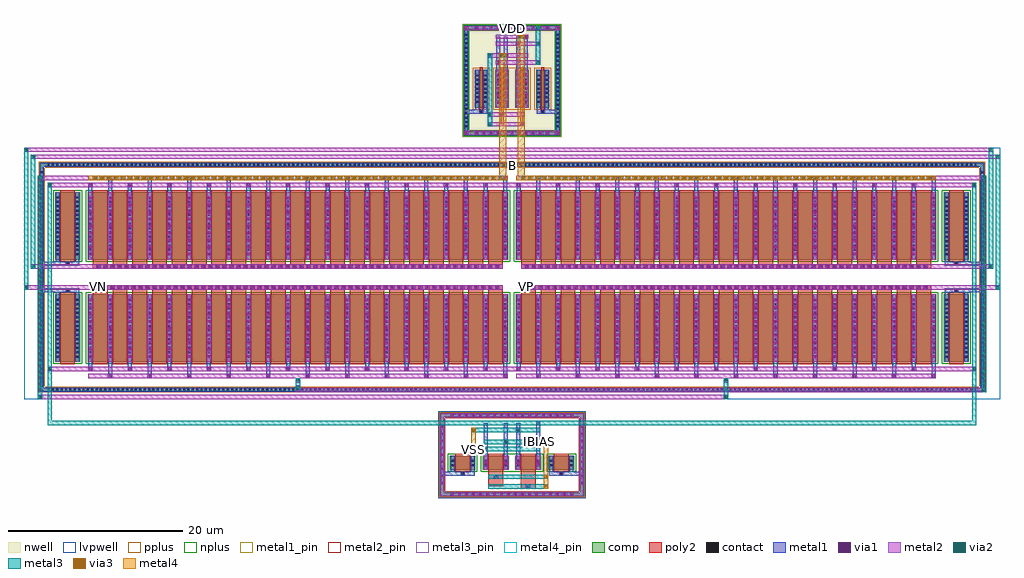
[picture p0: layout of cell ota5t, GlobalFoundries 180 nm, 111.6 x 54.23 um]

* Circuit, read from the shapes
.subckt ota5t B IBIAS OUT VDD VN VP VSS
XM1 B B B B nfet_03v3 w=7.72u l=1.7u m=4
XM2 OUT VN n1 B nfet_03v3 w=7.72u l=1.7u m=42
XM3 n2 VP n1 B nfet_03v3 w=7.72u l=1.7u m=42
XM4 B B B B nfet_03v3 w=1.58u l=1.75u m=2
XM5 IBIAS IBIAS VSS B nfet_03v3 w=1.58u l=1.75u
XM6 n1 IBIAS VSS B nfet_03v3 w=1.58u l=1.75u
XM7 VDD VDD VDD VDD pfet_03v3 w=4.36u l=0.33u m=2
XM8 n2 n2 VDD VDD pfet_03v3 w=4.36u l=0.33u
XM9 OUT n2 VDD VDD pfet_03v3 w=4.36u l=0.33u
.ends

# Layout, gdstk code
import gdstk
lib = gdstk.Library(unit=1e-6, precision=5e-09)
def R(c, l, rs):  # rectangles x0, y0, x1, y1
    for r in rs: c.add(gdstk.rectangle(r[:2], r[2:], *l))
def A(c, l, x, y, w, h, nx, ny, dx, dy):  # array of equal rectangles
    R(c, l, [(x+i*dx, y+j*dy, x+i*dx+w, y+j*dy+h) for i in range(nx) for j in range(ny)])
def P(c, l, *ps):  # polygons
    for p in ps: c.add(gdstk.Polygon(p, *l))
nwell = (21, 0)
comp = (22, 0)
poly2 = (30, 0)
pplus = (31, 0)
nplus = (32, 0)
contact = (33, 0)
metal1 = (34, 0)
metal1_pin = (34, 10)
via1 = (35, 0)
metal2 = (36, 0)
metal2_pin = (36, 10)
via2 = (38, 0)
via3 = (40, 0)
metal3 = (42, 0)
metal3_pin = (42, 10)
metal4 = (46, 0)
metal4_pin = (46, 10)
lvpwell = (204, 0)

ota5t = lib.new_cell('ota5t')
R(ota5t, nwell, [(-5.7,21.24,5.7,34.19), (-5.54,21.4,5.54,34.03), (-4.6,22.34,4.6,33.09)])
A(ota5t, comp, -6.98, -19.76, 0.36, 0.36, 18, 2, 0.8, 9)
A(ota5t, comp, -8.145, -18.46, 0.36, 0.36, 1, 9, 0, 0.8)
A(ota5t, comp, 7.785, -18.46, 0.36, 0.36, 1, 9, 0, 0.8)
A(ota5t, comp, -53.18, -7.8, 0.36, 0.36, 213, 2, 0.5, 25.72)
A(ota5t, comp, -53.96, -6.94, 0.36, 0.36, 1, 49, 0, 0.5)
A(ota5t, comp, 53.6, -6.94, 0.36, 0.36, 1, 49, 0, 0.5)
A(ota5t, comp, -4.18, 21.52, 0.36, 0.36, 11, 2, 0.8, 12.03)
A(ota5t, comp, -5.42, 22.285, 0.36, 0.36, 1, 22, 0, 0.5)
A(ota5t, comp, 5.06, 22.285, 0.36, 0.36, 1, 22, 0, 0.5)
R(ota5t, comp, [(-6.98,-19.76,6.98,-19.4), (-8.145,-18.46,-7.785,-11.7), (7.785,-18.46,8.145,-11.7), (-7.095,-16.8,-4.185,-15.22), (-3.325,-16.8,-0.375,-15.22), (0.375,-16.8,3.325,-15.22), (4.185,-16.8,7.095,-15.22), (-6.98,-10.76,6.98,-10.4), (-53.18,-7.8,53.18,-7.44), (-53.96,-6.94,-53.6,17.42), (53.6,-6.94,53.96,17.42), (-52.25,-4.47,-49.39,3.25), (-48.53,-4.47,-0.43,3.25), (0.43,-4.47,48.53,3.25), (49.39,-4.47,52.25,3.25), (-52.25,7.23,-49.39,14.95), (-48.53,7.23,-0.43,14.95), (0.43,7.23,48.53,14.95), (49.39,7.23,52.25,14.95), (-53.18,17.92,53.18,18.28), (-4.18,21.52,4.18,21.88), (-5.42,22.285,-5.06,33.145), (5.06,22.285,5.42,33.145), (-4.25,24.61,-2.76,28.97), (-1.9,24.61,-0.37,28.97), (0.37,24.61,1.9,28.97), (2.76,24.61,4.25,28.97), (-4.18,33.55,4.18,33.91)])
P(ota5t, comp, [(53.96,18.28),(-53.96,18.28),(-53.96,-7.44),(-53.6,-7.44),(-53.6,17.92),(53.6,17.92),(53.6,-7.44),(-53.6,-7.44),(-53.96,-7.44),(-53.96,-7.8),(53.96,-7.8)],
  [(8.145,-10.4),(-8.145,-10.4),(-8.145,-19.4),(-7.785,-19.4),(-7.785,-10.76),(7.785,-10.76),(7.785,-19.4),(-7.785,-19.4),(-8.145,-19.4),(-8.145,-19.76),(8.145,-19.76)],
  [(5.42,33.91),(-5.42,33.91),(-5.42,21.88),(-5.06,21.88),(-5.06,33.55),(5.06,33.55),(5.06,21.88),(-5.06,21.88),(-5.42,21.88),(-5.42,21.52),(5.42,21.52)])
A(ota5t, poly2, -47.93, -4.71, 1.7, 8.2, 21, 2, 2.26, 11.7)
A(ota5t, poly2, 1.03, -4.71, 1.7, 8.2, 21, 2, 2.26, 11.7)
A(ota5t, poly2, -47.93, 3.49, 1.7, 0.3, 21, 2, 2.26, 3.2)
A(ota5t, poly2, 1.03, 3.49, 1.7, 0.3, 21, 2, 2.26, 3.2)
A(ota5t, poly2, -47.46, 3.86, 0.36, 0.36, 58, 2, 0.8, 2.4)
A(ota5t, poly2, 1.5, 3.86, 0.36, 0.36, 58, 2, 0.8, 2.4)
R(ota5t, poly2, [(0.975,-18.94,2.725,-18.44), (1.67,-18.87,2.03,-18.51), (-2.725,-18.69,-0.975,-17.04), (0.975,-18.44,2.725,-17.04), (-2.725,-17.84,-0.975,-17.34), (-2.03,-17.77,-1.67,-17.41), (-5.87,-17.5,-5.41,-17.04), (5.41,-17.5,5.87,-17.04), (-5.82,-17.45,-5.46,-17.09), (5.46,-17.45,5.82,-17.09), (-2.725,-17.34,-0.975,-17.04), (-6.515,-17.04,-4.765,-14.98), (-2.725,-17.04,-0.975,-14.98), (0.975,-17.04,2.725,-14.98), (4.765,-17.04,6.515,-14.98), (-51.67,-4.71,-49.97,3.49), (49.97,-4.71,51.67,3.49), (-51.05,3.49,-50.59,3.95), (50.59,3.49,51.05,3.95), (-51,3.54,-50.64,3.9), (50.64,3.54,51,3.9), (-47.93,3.79,-1.03,4.29), (1.03,3.79,47.93,4.29), (-47.93,6.19,-1.03,6.69), (1.03,6.19,47.93,6.69), (-51.05,6.53,-50.59,6.99), (50.59,6.53,51.05,6.99), (-51,6.58,-50.64,6.94), (50.64,6.58,51,6.94), (-51.67,6.99,-49.97,15.19), (49.97,6.99,51.67,15.19), (0.885,22.46,1.385,22.96), (0.955,22.53,1.315,22.89), (-1.3,22.71,-0.97,24.37), (0.97,22.96,1.3,24.37), (-1.385,23.57,-0.885,24.07), (-1.315,23.64,-0.955,24), (-3.735,23.91,-3.275,24.37), (3.275,23.91,3.735,24.37), (-3.685,23.96,-3.325,24.32), (3.325,23.96,3.685,24.32), (-1.3,24.07,-0.97,24.37), (-3.67,24.37,-3.34,29.21), (-1.3,24.37,-0.97,29.21), (0.97,24.37,1.3,29.21), (3.34,24.37,3.67,29.21)])
R(ota5t, pplus, [(-4.48,24.38,-2.53,29.2), (-2.13,24.38,-0.14,29.2), (-2.13,24.38,2.13,29.2), (0.14,24.38,2.13,29.2), (2.53,24.38,4.48,29.2)])
P(ota5t, pplus, [(54.12,18.44),(-54.12,18.44),(-54.12,-7.28),(-53.44,-7.28),(-53.44,17.76),(53.44,17.76),(53.44,-7.28),(-53.44,-7.28),(-54.12,-7.28),(-54.12,-7.96),(54.12,-7.96)],
  [(8.305,-10.24),(-8.305,-10.24),(-8.305,-19.24),(-7.625,-19.24),(-7.625,-10.92),(7.625,-10.92),(7.625,-19.24),(-7.625,-19.24),(-8.305,-19.24),(-8.305,-19.92),(8.305,-19.92)])
R(ota5t, nplus, [(-7.325,-17.03,-3.955,-14.99), (-3.555,-17.03,-0.145,-14.99), (-3.555,-17.03,3.555,-14.99), (0.145,-17.03,3.555,-14.99), (3.955,-17.03,7.325,-14.99), (-52.48,-4.7,-49.16,3.48), (-48.76,-4.7,-0.2,3.48), (0.2,-4.7,48.76,3.48), (49.16,-4.7,52.48,3.48), (-52.48,7,-49.16,15.18), (-48.76,7,-0.2,15.18), (0.2,7,48.76,15.18), (49.16,7,52.48,15.18)])
P(ota5t, nplus, [(5.58,34.07),(-5.58,34.07),(-5.58,22.04),(-4.9,22.04),(-4.9,33.39),(4.9,33.39),(4.9,22.04),(-4.9,22.04),(-5.58,22.04),(-5.58,21.36),(5.58,21.36)])
A(ota5t, contact, -6.91, -19.69, 0.22, 0.22, 18, 2, 0.8, 9)
A(ota5t, contact, -8.075, -18.39, 0.22, 0.22, 1, 9, 0, 0.8)
A(ota5t, contact, 7.855, -18.39, 0.22, 0.22, 1, 9, 0, 0.8)
A(ota5t, contact, -53.11, -7.73, 0.22, 0.22, 213, 2, 0.5, 25.72)
A(ota5t, contact, -53.89, -6.87, 0.22, 0.22, 1, 49, 0, 0.5)
A(ota5t, contact, 53.67, -6.87, 0.22, 0.22, 1, 49, 0, 0.5)
A(ota5t, contact, -52.06, -3.97, 0.22, 0.22, 1, 14, 0, 0.5)
A(ota5t, contact, -49.8, -3.97, 0.22, 0.22, 1, 14, 0, 0.5)
A(ota5t, contact, -48.32, -3.97, 0.22, 0.22, 22, 14, 2.26, 0.5)
A(ota5t, contact, 0.64, -3.97, 0.22, 0.22, 22, 14, 2.26, 0.5)
A(ota5t, contact, 49.58, -3.97, 0.22, 0.22, 1, 14, 0, 0.5)
A(ota5t, contact, 51.84, -3.97, 0.22, 0.22, 1, 14, 0, 0.5)
A(ota5t, contact, -47.39, 3.93, 0.22, 0.22, 58, 2, 0.8, 2.4)
A(ota5t, contact, 1.57, 3.93, 0.22, 0.22, 58, 2, 0.8, 2.4)
A(ota5t, contact, -52.06, 7.73, 0.22, 0.22, 1, 14, 0, 0.5)
A(ota5t, contact, -49.8, 7.73, 0.22, 0.22, 1, 14, 0, 0.5)
A(ota5t, contact, -48.32, 7.73, 0.22, 0.22, 22, 14, 2.26, 0.5)
A(ota5t, contact, 0.64, 7.73, 0.22, 0.22, 22, 14, 2.26, 0.5)
A(ota5t, contact, 49.58, 7.73, 0.22, 0.22, 1, 14, 0, 0.5)
A(ota5t, contact, 51.84, 7.73, 0.22, 0.22, 1, 14, 0, 0.5)
A(ota5t, contact, -4.11, 21.59, 0.22, 0.22, 11, 2, 0.8, 12.03)
A(ota5t, contact, -5.35, 22.355, 0.22, 0.22, 1, 22, 0, 0.5)
A(ota5t, contact, 5.13, 22.355, 0.22, 0.22, 1, 22, 0, 0.5)
A(ota5t, contact, -4.06, 25.18, 0.22, 0.22, 1, 7, 0, 0.5)
A(ota5t, contact, -3.17, 25.18, 0.22, 0.22, 1, 7, 0, 0.5)
A(ota5t, contact, -1.69, 25.18, 0.22, 0.22, 1, 7, 0, 0.5)
A(ota5t, contact, -0.8, 25.18, 0.22, 0.22, 1, 7, 0, 0.5)
A(ota5t, contact, 0.58, 25.18, 0.22, 0.22, 1, 7, 0, 0.5)
A(ota5t, contact, 1.47, 25.18, 0.22, 0.22, 1, 7, 0, 0.5)
A(ota5t, contact, 2.95, 25.18, 0.22, 0.22, 1, 7, 0, 0.5)
A(ota5t, contact, 3.84, 25.18, 0.22, 0.22, 1, 7, 0, 0.5)
R(ota5t, contact, [(1.74,-18.8,1.96,-18.58), (-1.96,-17.7,-1.74,-17.48), (-5.75,-17.38,-5.53,-17.16), (5.53,-17.38,5.75,-17.16), (-6.905,-16.37,-6.685,-16.15), (-4.595,-16.37,-4.375,-16.15), (-3.115,-16.37,-2.895,-16.15), (-0.805,-16.37,-0.585,-16.15), (0.585,-16.37,0.805,-16.15), (2.895,-16.37,3.115,-16.15), (4.375,-16.37,4.595,-16.15), (6.685,-16.37,6.905,-16.15), (-6.905,-15.87,-6.685,-15.65), (-4.595,-15.87,-4.375,-15.65), (-3.115,-15.87,-2.895,-15.65), (-0.805,-15.87,-0.585,-15.65), (0.585,-15.87,0.805,-15.65), (2.895,-15.87,3.115,-15.65), (4.375,-15.87,4.595,-15.65), (6.685,-15.87,6.905,-15.65), (-50.93,3.61,-50.71,3.83), (50.71,3.61,50.93,3.83), (-50.93,6.65,-50.71,6.87), (50.71,6.65,50.93,6.87), (1.025,22.6,1.245,22.82), (-1.245,23.71,-1.025,23.93), (-3.615,24.03,-3.395,24.25), (3.395,24.03,3.615,24.25)])
A(ota5t, metal1, -7.05, -19.83, 0.5, 0.5, 18, 2, 0.8, 9)
A(ota5t, metal1, -8.215, -18.53, 0.5, 0.5, 1, 9, 0, 0.8)
A(ota5t, metal1, 7.715, -18.53, 0.5, 0.5, 1, 9, 0, 0.8)
A(ota5t, metal1, -53.23, -7.85, 0.46, 0.46, 213, 2, 0.5, 25.72)
A(ota5t, metal1, -54.01, -6.99, 0.46, 0.46, 1, 49, 0, 0.5)
A(ota5t, metal1, 53.55, -6.99, 0.46, 0.46, 1, 49, 0, 0.5)
A(ota5t, metal1, -46.2, -6.32, 0.5, 0.5, 11, 2, 4.52, 22.62)
A(ota5t, metal1, -46.18, -6.32, 0.46, 1.85, 11, 2, 4.52, 21.27)
A(ota5t, metal1, 2.76, -6.32, 0.5, 0.5, 11, 2, 4.52, 22.62)
A(ota5t, metal1, 2.78, -6.32, 0.46, 1.85, 11, 2, 4.52, 21.27)
A(ota5t, metal1, -48.46, -5.52, 0.5, 0.5, 11, 2, 4.52, 21.02)
A(ota5t, metal1, -48.44, -5.52, 0.46, 1.05, 11, 2, 4.52, 20.47)
A(ota5t, metal1, 0.5, -5.52, 0.5, 0.5, 11, 2, 4.52, 21.02)
A(ota5t, metal1, 0.52, -5.52, 0.46, 1.05, 11, 2, 4.52, 20.47)
A(ota5t, metal1, -48.44, -4.47, 0.46, 7.72, 22, 2, 2.26, 11.7)
A(ota5t, metal1, 0.52, -4.47, 0.46, 7.72, 22, 2, 2.26, 11.7)
A(ota5t, metal1, -52.18, -4.09, 0.46, 0.46, 1, 14, 0, 0.5)
A(ota5t, metal1, -49.92, -4.09, 0.46, 0.46, 1, 14, 0, 0.5)
A(ota5t, metal1, -48.44, -4.09, 0.46, 0.46, 22, 14, 2.26, 0.5)
A(ota5t, metal1, 0.52, -4.09, 0.46, 0.46, 22, 14, 2.26, 0.5)
A(ota5t, metal1, 49.46, -4.09, 0.46, 0.46, 1, 14, 0, 0.5)
A(ota5t, metal1, 51.72, -4.09, 0.46, 0.46, 1, 14, 0, 0.5)
A(ota5t, metal1, -48.46, -4.06, 0.5, 0.5, 22, 9, 2.26, 0.8)
A(ota5t, metal1, -48.46, -4.06, 0.5, 6.9, 22, 2, 2.26, 11.7)
A(ota5t, metal1, 0.5, -4.06, 0.5, 0.5, 22, 9, 2.26, 0.8)
A(ota5t, metal1, 0.5, -4.06, 0.5, 6.9, 22, 2, 2.26, 11.7)
A(ota5t, metal1, -47.53, 3.79, 0.5, 0.5, 58, 2, 0.8, 2.4)
A(ota5t, metal1, 1.43, 3.79, 0.5, 0.5, 58, 2, 0.8, 2.4)
A(ota5t, metal1, -52.18, 7.61, 0.46, 0.46, 1, 14, 0, 0.5)
A(ota5t, metal1, -49.92, 7.61, 0.46, 0.46, 1, 14, 0, 0.5)
A(ota5t, metal1, -48.44, 7.61, 0.46, 0.46, 22, 14, 2.26, 0.5)
A(ota5t, metal1, 0.52, 7.61, 0.46, 0.46, 22, 14, 2.26, 0.5)
A(ota5t, metal1, 49.46, 7.61, 0.46, 0.46, 1, 14, 0, 0.5)
A(ota5t, metal1, 51.72, 7.61, 0.46, 0.46, 1, 14, 0, 0.5)
A(ota5t, metal1, -48.46, 7.64, 0.5, 0.5, 22, 9, 2.26, 0.8)
A(ota5t, metal1, 0.5, 7.64, 0.5, 0.5, 22, 9, 2.26, 0.8)
A(ota5t, metal1, -4.25, 21.45, 0.5, 0.5, 11, 2, 0.8, 12.03)
A(ota5t, metal1, -5.47, 22.235, 0.46, 0.46, 1, 22, 0, 0.5)
A(ota5t, metal1, 5.01, 22.235, 0.46, 0.46, 1, 22, 0, 0.5)
A(ota5t, metal1, -1.83, 24.94, 0.5, 0.5, 1, 5, 0, 0.8)
A(ota5t, metal1, -0.94, 24.94, 0.5, 0.5, 1, 5, 0, 0.8)
A(ota5t, metal1, 0.44, 24.94, 0.5, 0.5, 1, 5, 0, 0.8)
A(ota5t, metal1, 1.33, 24.94, 0.5, 0.5, 1, 5, 0, 0.8)
A(ota5t, metal1, -4.18, 25.06, 0.46, 0.46, 1, 7, 0, 0.5)
A(ota5t, metal1, -3.29, 25.06, 0.46, 0.46, 1, 7, 0, 0.5)
A(ota5t, metal1, -1.81, 25.06, 0.46, 0.46, 1, 7, 0, 0.5)
A(ota5t, metal1, -0.92, 25.06, 0.46, 0.46, 1, 7, 0, 0.5)
A(ota5t, metal1, 0.46, 25.06, 0.46, 0.46, 1, 7, 0, 0.5)
A(ota5t, metal1, 1.35, 25.06, 0.46, 0.46, 1, 7, 0, 0.5)
A(ota5t, metal1, 2.83, 25.06, 0.46, 0.46, 1, 7, 0, 0.5)
A(ota5t, metal1, 3.72, 25.06, 0.46, 0.46, 1, 7, 0, 0.5)
R(ota5t, metal1, [(-7.05,-19.83,7.05,-19.33), (1.6,-18.94,2.1,-18.44), (-8.215,-18.53,-7.715,-11.63), (7.715,-18.53,8.215,-11.63), (-2.1,-17.84,-1.6,-17.34), (-8.215,-17.5,-5.87,-17.04), (-7.025,-17.5,-6.565,-16.8), (-7.025,-17.5,-5.87,-17.04), (-5.87,-17.5,-5.41,-17.04), (-5.41,-17.5,-4.255,-17.04), (-4.715,-17.5,-4.255,-16.8), (4.255,-17.5,4.715,-16.8), (4.255,-17.5,5.41,-17.04), (5.41,-17.5,5.87,-17.04), (5.87,-17.5,7.025,-17.04), (5.87,-17.5,8.215,-17.04), (6.565,-17.5,7.025,-16.8), (-7.025,-16.8,-6.565,-15.22), (-4.715,-16.8,-4.255,-15.22), (-3.235,-16.8,-2.775,-15.22), (-0.925,-16.8,-0.465,-15.22), (0.465,-16.8,0.925,-15.22), (2.775,-16.8,3.235,-15.22), (4.255,-16.8,4.715,-15.22), (6.565,-16.8,7.025,-15.22), (-7.025,-16.49,-6.565,-16.03), (-4.715,-16.49,-4.255,-16.03), (-3.235,-16.49,-2.775,-16.03), (-0.925,-16.49,-0.465,-16.03), (0.465,-16.49,0.925,-16.03), (2.775,-16.49,3.235,-16.03), (4.255,-16.49,4.715,-16.03), (6.565,-16.49,7.025,-16.03), (-3.255,-16.26,-2.755,-15.76), (-3.255,-16.26,-2.755,-15.76), (-0.945,-16.26,-0.445,-15.76), (-0.945,-16.26,-0.445,-15.76), (0.445,-16.26,0.945,-15.76), (0.445,-16.26,0.945,-15.76), (2.755,-16.26,3.255,-15.76), (2.755,-16.26,3.255,-15.76), (-7.025,-15.99,-6.565,-15.53), (-4.715,-15.99,-4.255,-15.53), (-3.235,-15.99,-2.775,-15.53), (-0.925,-15.99,-0.465,-15.53), (0.465,-15.99,0.925,-15.53), (2.775,-15.99,3.235,-15.53), (4.255,-15.99,4.715,-15.53), (6.565,-15.99,7.025,-15.53), (-3.235,-15.22,-2.775,-14.17), (-3.235,-15.22,-2.775,-11.47), (-0.925,-15.22,-0.465,-13.37), (-0.925,-15.22,-0.465,-11.47), (0.465,-15.22,0.925,-12.02), (0.465,-15.22,0.925,-11.47), (2.775,-15.22,3.235,-11.22), (2.775,-15.22,3.235,-11.47), (-3.255,-14.67,-2.755,-14.17), (-0.945,-13.87,-0.445,-13.37), (0.445,-12.52,0.945,-12.02), (2.755,-11.72,3.255,-11.22), (-7.05,-10.83,7.05,-10.33), (-54.01,-7.85,-53.6,-7.39), (-54.01,-7.85,-53.55,-7.44), (-53.6,-7.85,53.6,-7.39), (53.55,-7.85,54.01,-7.44), (53.6,-7.85,54.01,-7.39), (-54.01,-7.44,-53.55,17.92), (53.55,-7.44,54.01,17.92), (-52.18,-4.47,-51.72,3.25), (-49.92,-4.47,-49.46,3.25), (49.46,-4.47,49.92,3.25), (51.72,-4.47,52.18,3.25), (-52.18,3.25,-51.72,3.95), (-49.92,3.25,-49.46,3.95), (49.46,3.25,49.92,3.95), (51.72,3.25,52.18,3.95), (-54.01,3.49,-51.05,3.95), (-52.18,3.49,-51.05,3.95), (-51.05,3.49,-50.59,3.95), (-50.59,3.49,-49.46,3.95), (49.46,3.49,50.59,3.95), (50.59,3.49,51.05,3.95), (50.59,3.49,54.01,3.95), (51.05,3.49,52.18,3.95), (-54.01,6.53,-51.05,6.99), (-52.18,6.53,-51.05,6.99), (-52.18,6.53,-51.72,7.23), (-51.05,6.53,-50.59,6.99), (-50.59,6.53,-49.46,6.99), (-49.92,6.53,-49.46,7.23), (49.46,6.53,50.59,6.99), (49.46,6.53,49.92,7.23), (50.59,6.53,51.05,6.99), (50.59,6.53,54.01,6.99), (51.05,6.53,52.18,6.99), (51.72,6.53,52.18,7.23), (-52.18,7.23,-51.72,14.95), (-49.92,7.23,-49.46,14.95), (49.46,7.23,49.92,14.95), (51.72,7.23,52.18,14.95), (-54.01,17.87,-53.6,18.33), (-53.6,17.87,53.6,18.33), (53.6,17.87,54.01,18.33), (-54.01,17.92,-53.55,18.33), (53.55,17.92,54.01,18.33), (-5.47,21.45,-4.97,21.95), (-5.47,21.45,-4.97,21.95), (-5.47,21.45,-5.01,21.88), (-4.25,21.45,4.25,21.95), (4.97,21.45,5.47,21.95), (4.97,21.45,5.47,21.95), (5.01,21.45,5.47,21.88), (-5.47,21.88,-5.01,33.55), (5.01,21.88,5.47,33.55), (0.885,22.46,1.385,22.96), (-1.385,23.57,-0.885,24.07), (-5.47,23.91,-3.735,24.37), (-4.18,23.91,-3.72,24.61), (-4.18,23.91,-3.735,24.37), (-3.735,23.91,-3.275,24.37), (-3.29,23.91,-2.83,24.61), (-3.275,23.91,-2.83,24.37), (2.83,23.91,3.29,24.61), (2.83,23.91,3.275,24.37), (3.275,23.91,3.735,24.37), (3.72,23.91,4.18,24.61), (3.735,23.91,4.18,24.37), (3.735,23.91,5.47,24.37), (-4.18,24.61,-3.72,28.97), (-3.29,24.61,-2.83,28.97), (-1.81,24.61,-1.35,28.97), (-0.92,24.61,-0.46,28.97), (0.46,24.61,0.92,28.97), (1.35,24.61,1.81,28.97), (2.83,24.61,3.29,28.97), (3.72,24.61,4.18,28.97), (-1.83,24.94,-1.33,28.64), (-0.94,24.94,-0.44,28.64), (0.44,24.94,0.94,28.64), (1.33,24.94,1.83,28.64), (-1.81,28.97,-1.35,30.02), (-1.81,28.97,-1.35,32.72), (-0.92,28.97,-0.46,30.82), (-0.92,28.97,-0.46,32.72), (0.46,28.97,0.92,32.17), (0.46,28.97,0.92,32.72), (1.35,28.97,1.81,32.97), (1.35,28.97,1.81,32.72), (-1.83,29.52,-1.33,30.02), (-0.94,30.32,-0.44,30.82), (0.44,31.67,0.94,32.17), (1.33,32.47,1.83,32.97), (-5.47,33.48,-4.97,33.98), (-5.47,33.48,-4.97,33.98), (-4.25,33.48,4.25,33.98), (4.97,33.48,5.47,33.98), (4.97,33.48,5.47,33.98), (-5.47,33.55,-5.01,33.98), (5.01,33.55,5.47,33.98)])
R(ota5t, metal1_pin, [(-0.135,17.87,0.135,18.14), (-0.135,17.87,0.135,18.14)])
A(ota5t, via1, -6.93, -19.71, 0.26, 0.26, 18, 2, 0.8, 9)
A(ota5t, via1, -8.095, -18.41, 0.26, 0.26, 1, 9, 0, 0.8)
A(ota5t, via1, 7.835, -18.41, 0.26, 0.26, 1, 9, 0, 0.8)
A(ota5t, via1, -46.08, -6.2, 0.26, 0.26, 11, 2, 4.52, 22.62)
A(ota5t, via1, 2.88, -6.2, 0.26, 0.26, 11, 2, 4.52, 22.62)
A(ota5t, via1, -48.34, -5.4, 0.26, 0.26, 11, 2, 4.52, 21.02)
A(ota5t, via1, 0.62, -5.4, 0.26, 0.26, 11, 2, 4.52, 21.02)
A(ota5t, via1, -48.34, -3.94, 0.26, 0.26, 22, 9, 2.26, 0.8)
A(ota5t, via1, 0.62, -3.94, 0.26, 0.26, 22, 9, 2.26, 0.8)
A(ota5t, via1, -47.41, 3.91, 0.26, 0.26, 58, 2, 0.8, 2.4)
A(ota5t, via1, 1.55, 3.91, 0.26, 0.26, 58, 2, 0.8, 2.4)
A(ota5t, via1, -48.34, 7.76, 0.26, 0.26, 22, 9, 2.26, 0.8)
A(ota5t, via1, 0.62, 7.76, 0.26, 0.26, 22, 9, 2.26, 0.8)
A(ota5t, via1, -4.13, 21.57, 0.26, 0.26, 11, 2, 0.8, 12.03)
A(ota5t, via1, -1.71, 25.06, 0.26, 0.26, 1, 5, 0, 0.8)
A(ota5t, via1, -0.82, 25.06, 0.26, 0.26, 1, 5, 0, 0.8)
A(ota5t, via1, 0.56, 25.06, 0.26, 0.26, 1, 5, 0, 0.8)
A(ota5t, via1, 1.45, 25.06, 0.26, 0.26, 1, 5, 0, 0.8)
R(ota5t, via1, [(1.72,-18.82,1.98,-18.56), (-1.98,-17.72,-1.72,-17.46), (-3.135,-16.14,-2.875,-15.88), (-0.825,-16.14,-0.565,-15.88), (0.565,-16.14,0.825,-15.88), (2.875,-16.14,3.135,-15.88), (-3.135,-14.55,-2.875,-14.29), (-0.825,-13.75,-0.565,-13.49), (0.565,-12.4,0.825,-12.14), (2.875,-11.6,3.135,-11.34), (-5.35,21.57,-5.09,21.83), (5.09,21.57,5.35,21.83), (1.005,22.58,1.265,22.84), (-1.265,23.69,-1.005,23.95), (-1.71,29.64,-1.45,29.9), (-0.82,30.44,-0.56,30.7), (0.56,31.79,0.82,32.05), (1.45,32.59,1.71,32.85), (-5.35,33.6,-5.09,33.86), (5.09,33.6,5.35,33.86)])
A(ota5t, metal2, -7.05, -19.83, 0.5, 0.5, 18, 2, 0.8, 9)
A(ota5t, metal2, -8.215, -18.53, 0.5, 0.5, 1, 9, 0, 0.8)
A(ota5t, metal2, 7.715, -18.53, 0.5, 0.5, 1, 9, 0, 0.8)
A(ota5t, metal2, -46.2, -6.32, 0.5, 0.5, 11, 2, 4.52, 22.62)
A(ota5t, metal2, 2.76, -6.32, 0.5, 0.5, 11, 2, 4.52, 22.62)
A(ota5t, metal2, -48.46, -5.52, 0.5, 0.5, 11, 2, 4.52, 21.02)
A(ota5t, metal2, 0.5, -5.52, 0.5, 0.5, 11, 2, 4.52, 21.02)
A(ota5t, metal2, -48.46, -4.47, 0.5, 7.72, 22, 2, 2.26, 11.7)
A(ota5t, metal2, 0.5, -4.47, 0.5, 7.72, 22, 2, 2.26, 11.7)
A(ota5t, metal2, -48.46, -4.06, 0.5, 0.5, 22, 9, 2.26, 0.8)
A(ota5t, metal2, 0.5, -4.06, 0.5, 0.5, 22, 9, 2.26, 0.8)
A(ota5t, metal2, -47.53, 3.79, 0.5, 0.5, 58, 2, 0.8, 2.4)
A(ota5t, metal2, 1.43, 3.79, 0.5, 0.5, 58, 2, 0.8, 2.4)
A(ota5t, metal2, -48.46, 7.64, 0.5, 0.5, 22, 9, 2.26, 0.8)
A(ota5t, metal2, 0.5, 7.64, 0.5, 0.5, 22, 9, 2.26, 0.8)
A(ota5t, metal2, -4.25, 21.45, 0.5, 0.5, 11, 1, 0.8, 0)
A(ota5t, metal2, -1.83, 24.94, 0.5, 0.5, 1, 5, 0, 0.8)
A(ota5t, metal2, -0.94, 24.94, 0.5, 0.5, 1, 5, 0, 0.8)
A(ota5t, metal2, 0.44, 24.94, 0.5, 0.5, 1, 5, 0, 0.8)
A(ota5t, metal2, 1.33, 24.94, 0.5, 0.5, 1, 5, 0, 0.8)
A(ota5t, metal2, -4.25, 33.48, 0.5, 0.5, 9, 1, 0.8, 0)
R(ota5t, metal2, [(-8.215,-19.83,-7.785,-19.33), (-8.215,-19.83,-7.715,-19.4), (-7.785,-19.83,7.785,-19.33), (7.715,-19.83,8.215,-19.4), (7.785,-19.83,8.215,-19.33), (-8.215,-19.4,-7.715,-10.76), (7.715,-19.4,8.215,-10.76), (1.6,-18.94,2.1,-18.44), (-2.1,-17.84,-1.6,-17.34), (-3.255,-16.8,-2.755,-15.22), (-0.945,-16.8,-0.445,-15.22), (0.445,-16.8,0.945,-15.22), (2.755,-16.8,3.255,-15.22), (-3.255,-16.26,-2.755,-15.76), (-0.945,-16.26,-0.445,-15.76), (0.445,-16.26,0.945,-15.76), (2.755,-16.26,3.255,-15.76), (-3.255,-14.67,-2.755,-14.17), (-0.945,-13.87,-0.445,-13.37), (0.445,-12.52,0.945,-12.02), (2.755,-11.72,3.255,-11.22), (-8.215,-10.83,-7.785,-10.33), (-7.785,-10.83,7.785,-10.33), (7.785,-10.83,8.215,-10.33), (-8.215,-10.76,-7.715,-10.33), (7.715,-10.76,8.215,-10.33), (-54.2,-8.72,-53.7,-8.22), (-54.2,-8.72,24.73,-8.22), (24.23,-8.72,24.73,-8.22), (-24.73,-7.92,54.2,-7.42), (53.7,-7.92,54.2,-7.42), (-24.73,-7.62,-24.23,-7.12), (-24.73,-6.82,-24.23,-6.32), (24.23,-6.82,24.73,-6.32), (-48.46,-6.32,-0.5,-5.82), (0.5,-6.32,48.46,-5.82), (-53.1,-5.52,-52.6,-5.02), (-53.1,-5.52,-48.46,-5.02), (-48.46,-5.52,-0.5,-5.02), (-0.5,-5.52,0.5,-5.02), (0.5,-5.52,48.46,-5.02), (48.46,-5.52,53.1,-5.02), (52.6,-5.52,53.1,-5.02), (-55.8,3.79,-55.3,4.29), (-55.8,3.79,-1.03,4.29), (-47.93,3.79,-1.03,4.29), (1.03,3.79,47.93,4.29), (1.03,3.79,55.8,4.29), (55.3,3.79,55.8,4.29), (-55,6.19,-54.5,6.69), (-55,6.19,-47.93,6.69), (-47.93,6.19,-1.03,6.69), (1.03,6.19,47.93,6.69), (47.93,6.19,55,6.69), (54.5,6.19,55,6.69), (-53.1,15.5,-52.6,16), (-53.1,15.5,-48.46,16), (-48.46,15.5,-0.5,16), (-0.5,15.5,0.5,16), (0.5,15.5,48.46,16), (48.46,15.5,53.1,16), (52.6,15.5,53.1,16), (-54.2,16.3,-53.7,16.8), (-54.2,16.3,-48.46,16.8), (-48.46,16.3,-0.5,16.8), (0.5,16.3,48.46,16.8), (48.46,16.3,54.2,16.8), (53.7,16.3,54.2,16.8), (-55,18.74,-54.5,19.24), (-55,18.74,-52.6,19.24), (-52.6,18.74,52.6,19.24), (52.6,18.74,55.8,19.24), (55.3,18.74,55.8,19.24), (-55.8,19.54,-55.3,20.04), (-55.8,19.54,-52.6,20.04), (-52.6,19.54,52.6,20.04), (52.6,19.54,55,20.04), (54.5,19.54,55,20.04), (-5.47,21.45,-4.97,21.95), (-5.47,21.45,-4.97,21.95), (-5.47,21.45,-5.06,21.95), (-5.06,21.45,5.06,21.95), (4.97,21.45,5.47,21.95), (4.97,21.45,5.47,21.95), (5.06,21.45,5.47,21.95), (-2.785,22.46,-2.285,22.96), (-2.785,22.46,-1.385,22.96), (-1.385,22.46,1.385,22.96), (0.885,22.46,1.385,22.96), (0.885,22.46,1.385,22.96), (-2.785,23.57,-2.285,24.07), (-2.785,23.57,-1.385,24.07), (-1.385,23.57,-0.885,24.07), (-1.385,23.57,-0.885,24.07), (-1.385,23.57,1.385,24.07), (-1.83,24.61,-1.33,28.97), (-0.94,24.61,-0.44,28.97), (0.44,24.61,0.94,28.97), (1.33,24.61,1.83,28.97), (-1.83,29.52,-1.33,30.02), (-1.83,29.52,-0.44,30.02), (-1.83,29.52,1.83,30.02), (1.83,29.52,3.23,30.02), (2.73,29.52,3.23,30.02), (-2.785,30.32,-2.285,30.82), (-2.785,30.32,-2.285,30.82), (-2.785,30.32,-1.83,30.82), (-1.83,30.32,-0.44,30.82), (-1.83,30.32,1.83,30.82), (-0.94,30.32,-0.44,30.82), (-1.83,31.67,1.83,32.17), (0.44,31.67,0.94,32.17), (0.44,31.67,1.83,32.17), (1.83,31.67,3.23,32.17), (2.73,31.67,3.23,32.17), (-1.83,32.47,1.83,32.97), (0.44,32.47,1.83,32.97), (1.33,32.47,1.83,32.97), (-5.47,33.48,-4.97,33.98), (-5.47,33.48,-4.97,33.98), (-5.47,33.48,-5.06,33.98), (-5.06,33.48,5.06,33.98), (2.73,33.48,3.23,33.98), (2.95,33.48,3.45,33.98), (3.75,33.48,4.25,33.98), (4.97,33.48,5.47,33.98), (4.97,33.48,5.47,33.98), (5.06,33.48,5.47,33.98)])
R(ota5t, metal2_pin, [(-47.415,4.02,-47.145,4.29), (-47.415,4.02,-47.145,4.29), (1.545,4.02,1.815,4.29), (1.545,4.02,1.815,4.29), (-24.615,16.53,-24.345,16.8), (24.345,16.53,24.615,16.8), (1.56,32.585,1.83,32.855), (-0.135,33.48,0.135,33.75)])
A(ota5t, via2, -47.81, 16.42, 0.26, 0.26, 59, 1, 0.8, 0)
A(ota5t, via2, 1.15, 16.42, 0.26, 0.26, 59, 1, 0.8, 0)
R(ota5t, via2, [(1.72,-18.82,1.98,-18.56), (-1.98,-17.72,-1.72,-17.46), (-3.135,-14.55,-2.875,-14.29), (-0.825,-13.75,-0.565,-13.49), (0.565,-12.4,0.825,-12.14), (2.875,-11.6,3.135,-11.34), (-54.08,-8.6,-53.82,-8.34), (24.35,-8.6,24.61,-8.34), (53.82,-7.8,54.08,-7.54), (-24.61,-7.5,-24.35,-7.24), (-24.61,-6.7,-24.35,-6.44), (24.35,-6.7,24.61,-6.44), (-52.98,-5.4,-52.72,-5.14), (52.72,-5.4,52.98,-5.14), (-55.68,3.91,-55.42,4.17), (55.42,3.91,55.68,4.17), (-54.88,6.31,-54.62,6.57), (54.62,6.31,54.88,6.57), (-52.98,15.62,-52.72,15.88), (52.72,15.62,52.98,15.88), (-54.08,16.42,-53.82,16.68), (53.82,16.42,54.08,16.68), (-54.88,18.86,-54.62,19.12), (55.42,18.86,55.68,19.12), (-55.68,19.66,-55.42,19.92), (54.62,19.66,54.88,19.92), (-2.665,22.58,-2.405,22.84), (-2.665,23.69,-2.405,23.95), (2.85,29.64,3.11,29.9), (-2.665,30.44,-2.405,30.7), (-1.16,30.44,-0.9,30.7), (2.85,31.79,3.11,32.05), (0.9,32.59,1.16,32.85), (2.85,33.6,3.11,33.86)])
A(ota5t, via3, -47.81, 16.42, 0.26, 0.26, 59, 1, 0.8, 0)
A(ota5t, via3, 1.15, 16.42, 0.26, 0.26, 59, 1, 0.8, 0)
R(ota5t, via3, [(3.745,-18.82,4.005,-18.56), (3.745,-17.72,4.005,-17.46), (-4.535,-14.55,-4.275,-14.29), (3.745,-13.75,4.005,-13.49), (-4.535,-12.4,-4.275,-12.14), (-1.16,30.44,-0.9,30.7), (0.9,32.59,1.16,32.85)])
A(ota5t, metal3, -47.93, 16.3, 0.5, 0.5, 59, 1, 0.8, 0)
A(ota5t, metal3, 1.03, 16.3, 0.5, 0.5, 59, 1, 0.8, 0)
R(ota5t, metal3, [(-2.725,-18.94,2.725,-18.44), (0.975,-18.94,2.725,-18.44), (1.6,-18.94,2.1,-18.44), (2.725,-18.94,4.125,-18.44), (3.625,-18.94,4.125,-18.44), (-2.725,-17.84,-0.975,-17.34), (-2.725,-17.84,2.725,-17.34), (-2.1,-17.84,-1.6,-17.34), (2.725,-17.84,4.125,-17.34), (3.625,-17.84,4.125,-17.34), (-4.655,-14.67,-4.155,-14.17), (-4.655,-14.67,-3.255,-14.17), (-3.255,-14.67,-2.755,-14.17), (-3.255,-14.67,-0.445,-14.17), (-3.255,-14.67,3.255,-14.17), (-3.255,-13.87,-0.445,-13.37), (-3.255,-13.87,3.255,-13.37), (-0.945,-13.87,-0.445,-13.37), (3.255,-13.87,4.125,-13.37), (3.625,-13.87,4.125,-13.37), (3.625,-13.87,4.125,-13.37), (-4.655,-12.52,-4.155,-12.02), (-4.655,-12.52,-3.255,-12.02), (-3.255,-12.52,3.255,-12.02), (0.445,-12.52,0.945,-12.02), (0.445,-12.52,3.255,-12.02), (-53.1,-11.72,-3.255,-11.22), (-53.1,-11.72,-52.6,-5.52), (-3.255,-11.72,3.255,-11.22), (0.445,-11.72,3.255,-11.22), (2.755,-11.72,3.255,-11.22), (3.255,-11.72,53.1,-11.22), (52.6,-11.72,53.1,-5.52), (-54.2,-8.72,-53.7,-8.22), (-54.2,-8.72,-53.7,-8.22), (-54.2,-8.72,-53.7,16.8), (24.23,-8.72,24.73,-8.22), (24.23,-8.22,24.73,-6.82), (53.7,-7.92,54.2,-7.42), (53.7,-7.92,54.2,-7.42), (53.7,-7.92,54.2,16.8), (-24.73,-7.62,-24.23,-7.12), (-24.73,-7.12,-24.23,-6.82), (-24.73,-6.82,-24.23,-6.32), (24.23,-6.82,24.73,-6.32), (-53.1,-5.52,-52.6,-5.02), (-53.1,-5.52,-52.6,-5.02), (-53.1,-5.52,-52.6,16), (52.6,-5.52,53.1,-5.02), (52.6,-5.52,53.1,-5.02), (52.6,-5.52,53.1,16), (-55.8,3.79,-55.3,4.29), (-55.8,3.79,-55.3,4.29), (-55.8,3.79,-55.3,20.04), (55.3,3.79,55.8,4.29), (55.3,3.79,55.8,4.29), (55.3,3.79,55.8,19.24), (-55,6.19,-54.5,6.69), (-55,6.19,-54.5,6.69), (-55,6.19,-54.5,19.24), (54.5,6.19,55,6.69), (54.5,6.19,55,6.69), (54.5,6.19,55,20.04), (-53.1,15.5,-52.6,16), (-53.1,15.5,-52.6,16), (52.6,15.5,53.1,16), (52.6,15.5,53.1,16), (-54.2,16.3,-53.7,16.8), (-54.2,16.3,-53.7,16.8), (53.7,16.3,54.2,16.8), (53.7,16.3,54.2,16.8), (-55,18.74,-54.5,19.24), (-55,18.74,-54.5,19.24), (55.3,18.74,55.8,19.24), (55.3,18.74,55.8,19.24), (-55.8,19.54,-55.3,20.04), (-55.8,19.54,-55.3,20.04), (54.5,19.54,55,20.04), (54.5,19.54,55,20.04), (-2.785,22.46,-2.285,22.96), (-2.785,22.46,-2.285,22.96), (-2.785,22.46,-2.285,24.07), (-2.785,23.57,-2.285,24.07), (-2.785,23.57,-2.285,24.07), (-2.785,24.07,-2.285,30.82), (2.73,29.52,3.23,30.02), (2.73,29.52,3.23,30.02), (2.73,29.52,3.23,32.17), (-2.785,30.32,-2.285,30.82), (-2.785,30.32,-2.285,30.82), (-1.28,30.32,-0.78,30.82), (2.73,31.67,3.23,32.17), (2.73,31.67,3.23,32.17), (2.73,32.17,3.23,33.48), (0.78,32.47,1.28,32.97), (2.73,33.48,3.23,33.98)])
P(ota5t, metal3, [(55.8,3.79),(55.8,3.79),(55.8,4.29),(55.8,4.29)],
  [(55.8,18.74),(55.8,18.74),(55.8,19.24),(55.8,19.24)],
  [(-55.3,3.79),(-55.3,3.79),(-55.3,4.29),(-55.3,4.29)],
  [(-55.3,19.54),(-55.3,19.54),(-55.3,20.04),(-55.3,20.04)],
  [(55,6.19),(55,6.19),(55,6.69),(55,6.69)],
  [(55,19.54),(55,19.54),(55,20.04),(55,20.04)],
  [(-54.5,6.19),(-54.5,6.19),(-54.5,6.69),(-54.5,6.69)],
  [(-54.5,18.74),(-54.5,18.74),(-54.5,19.24),(-54.5,19.24)],
  [(-53.7,-8.72),(-53.7,-8.72),(-53.7,-8.22),(-53.7,-8.22)],
  [(-53.7,16.3),(-53.7,16.3),(-53.7,16.8),(-53.7,16.8)],
  [(54.2,-7.92),(54.2,-7.92),(54.2,-7.42),(54.2,-7.42)],
  [(54.2,16.3),(54.2,16.3),(54.2,16.8),(54.2,16.8)],
  [(-52.6,-5.52),(-52.6,-5.52),(-52.6,-5.02),(-52.6,-5.02)],
  [(-52.6,15.5),(-52.6,15.5),(-52.6,16),(-52.6,16)],
  [(53.1,-5.52),(53.1,-5.52),(53.1,-5.02),(53.1,-5.02)],
  [(53.1,15.5),(53.1,15.5),(53.1,16),(53.1,16)],
  [(3.23,29.52),(3.23,29.52),(3.23,30.02),(3.23,30.02)],
  [(3.23,31.67),(3.23,31.67),(3.23,32.17),(3.23,32.17)],
  [(-2.285,22.46),(-2.285,22.46),(-2.285,22.96),(-2.285,22.96)],
  [(-2.285,23.57),(-2.285,23.57),(-2.285,24.07),(-2.285,24.07)])
R(ota5t, metal3_pin, [(2.985,-13.755,3.255,-13.485), (2.985,-13.755,3.255,-13.485)])
A(ota5t, metal4, -47.93, 16.3, 0.5, 0.5, 59, 1, 0.8, 0)
A(ota5t, metal4, 1.03, 16.3, 0.5, 0.5, 59, 1, 0.8, 0)
R(ota5t, metal4, [(3.625,-18.94,4.125,-18.44), (3.625,-18.94,4.125,-18.44), (3.625,-18.94,4.125,-17.34), (3.625,-17.84,4.125,-17.34), (3.625,-17.84,4.125,-17.34), (3.625,-17.34,4.125,-13.37), (-4.655,-14.67,-4.155,-14.17), (-4.655,-14.67,-4.155,-14.17), (-4.655,-14.67,-4.155,-12.02), (3.625,-13.87,4.125,-13.37), (3.625,-13.87,4.125,-13.37), (-4.655,-12.52,-4.155,-12.02), (-4.655,-12.52,-4.155,-12.02), (-48.46,16.3,-0.5,16.8), (-48.26,16.3,-0.7,16.8), (0.5,16.3,48.46,16.8), (0.7,16.3,48.26,16.8), (-1.43,16.55,-0.63,30.57), (0.63,16.55,1.43,32.72), (-1.43,30.32,-0.63,30.82), (-1.28,30.32,-0.78,30.82), (0.63,32.47,1.43,32.97), (0.78,32.47,1.28,32.97)])
P(ota5t, metal4, [(4.125,-18.94),(4.125,-18.94),(4.125,-18.44),(4.125,-18.44)],
  [(4.125,-17.84),(4.125,-17.84),(4.125,-17.34),(4.125,-17.34)],
  [(-4.155,-14.67),(-4.155,-14.67),(-4.155,-14.17),(-4.155,-14.17)],
  [(-4.155,-12.52),(-4.155,-12.52),(-4.155,-12.02),(-4.155,-12.02)])
R(ota5t, metal4_pin, [(-4.54,-14.67,-4.27,-14.4), (-4.54,-14.67,-4.27,-14.4)])
R(ota5t, lvpwell, [(-8.425,-20.04,8.425,-10.12), (-55.8,-8.72,55.8,20.04), (-52.6,-6.44,-0.08,4.41), (0.08,-6.44,52.6,4.41), (-52.6,6.07,-0.08,16.92), (0.08,6.07,52.6,16.92)])
ota5t.add(gdstk.Label('B', (0,18.005), layer=34, texttype=10))
ota5t.add(gdstk.Label('VSS', (-4.405,-14.535), layer=46, texttype=10))
ota5t.add(gdstk.Label('IBIAS', (3.12,-13.62), layer=42, texttype=10))
ota5t.add(gdstk.Label('VN', (-47.28,4.155), layer=36, texttype=10))
ota5t.add(gdstk.Label('VP', (1.68,4.155), layer=36, texttype=10))
ota5t.add(gdstk.Label('VDD', (0,33.615), layer=36, texttype=10))
ota5t.add(gdstk.Label('B', (0,18.005), layer=34, texttype=10))
ota5t.add(gdstk.Label('VSS', (-4.405,-14.535), layer=46, texttype=10))
ota5t.add(gdstk.Label('IBIAS', (3.12,-13.62), layer=42, texttype=10))
ota5t.add(gdstk.Label('OUT', (1.695,32.72), layer=36, texttype=10))
ota5t.add(gdstk.Label('VN', (-47.28,4.155), layer=36, texttype=10))
ota5t.add(gdstk.Label('VP', (1.68,4.155), layer=36, texttype=10))

lib.write_gds('ota5t.gds')
